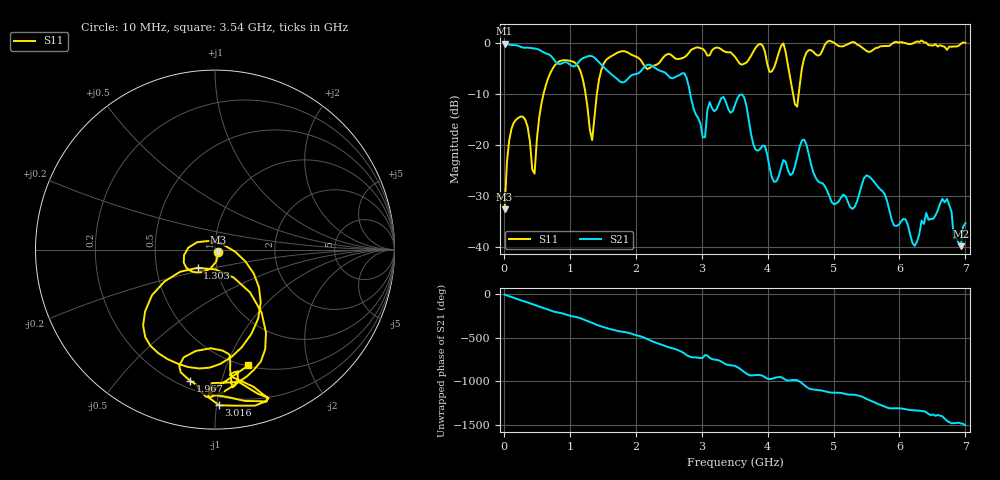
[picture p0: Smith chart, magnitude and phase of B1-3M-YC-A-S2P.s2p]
!File created by NanoVNA
# Hz S RI R 50
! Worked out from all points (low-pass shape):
!   201 points, 10 MHz to 7 GHz, reference 50 ohm
!   highest |S21| = -0.21 dB at 10 MHz (marker M1); lowest = -39.8 dB at 6.93 GHz (marker M2)
!   |S21| within 3 dB of the highest: start of sweep to 750.8 MHz; 1.181 GHz to 1.393 GHz (211.4 MHz wide, 16.4 % of centre)
!   lowest |S11| = -32.6 dB at 10 MHz (marker M3), VSWR 1.05, Z = 52 - j1.35 ohm
!   |S11| at or under -10 dB: start of sweep to 601.3 MHz; 1.238 GHz to 1.41 GHz (172.4 MHz wide, 13 % of centre); 4.385 GHz to 4.472 GHz (86.96 MHz wide, 1.96 % of centre)
!   S12 and S22 are empty: the file has one direction only
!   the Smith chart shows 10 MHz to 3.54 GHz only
!   S11 on the Smith chart (normalised r, x): 10 MHz: 1.04, -0.03; 1.303 GHz: 0.81, -0.17; 1.967 GHz: 0.24, -0.80; 3.016 GHz: 0.14, -1.02; 3.54 GHz: 0.51, -1.20
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1e7  0.0194 -0.013  0.9753 -0.0499  0 0  0 0
1.1485e8  -0.0709 -0.1257  0.8097 -0.4841  0 0  0 0
3.2455e8  -0.1727 -0.0315  0.0795 -0.8849  0 0  0 0
4.6435e8  0.0433 0.0294  -0.4545 -0.7471  0 0  0 0
6.0415e8  0.245 -0.2097  -0.748 -0.2832  0 0  0 0
1.1983e9  -0.351 -0.2541  0.1989 0.6741  0 0  0 0
1.30315e9  -0.0968 -0.1013  0.5446 0.5015  0 0  0 0
1.9672e9  -0.1374 -0.7313  -0.1014 -0.4764  0 0  0 0
2.35165e9  0.0849 -0.6224  -0.4686 0.2574  0 0  0 0
2.77105e9  0.1461 -0.7321  0.4218 0.161  0 0  0 0
3.0157e9  0.0233 -0.8676  0.1163 -0.0214  0 0  0 0
3.505e9  0.0748 -0.7221  -0.0571 -0.2379  0 0  0 0
3.53995e9  0.1865 -0.6451  -0.1278 -0.2524  0 0  0 0
3.9244e9  0.5144 -0.7797  -0.0786 0.0587  0 0  0 0
4.0642e9  -0.1188 -0.5072  -0.0156 0.0455  0 0  0 0
4.23895e9  0.5225 -0.8295  -0.0283 0.0652  0 0  0 0
4.44865e9  0.207 -0.1136  -0.00111 0.0761  0 0  0 0
4.6933e9  0.7992 -0.1399  0.0518 -0.0141  0 0  0 0
4.903e9  0.7799 -0.6505  0.0268 -0.0235  0 0  0 0
5.84665e9  0.8869 -0.2673  -0.0148 0.0174  0 0  0 0
6.9301e9  0.966 -0.0741  0.00736 -0.00709  0 0  0 0
7e9  0.9949 -0.0051  0.00646 -0.0159  0 0  0 0
